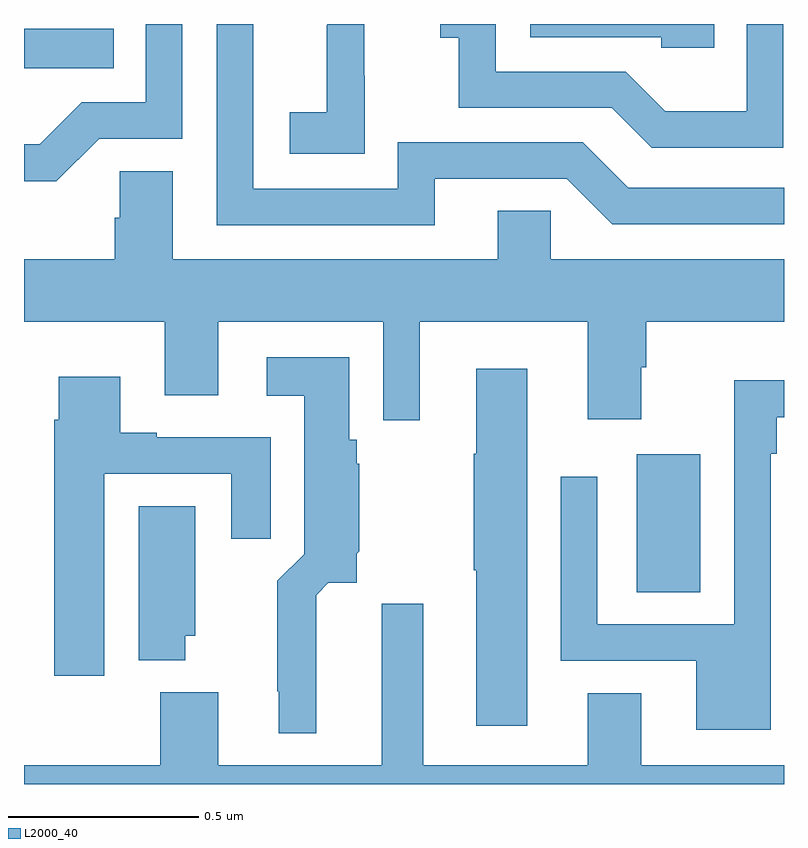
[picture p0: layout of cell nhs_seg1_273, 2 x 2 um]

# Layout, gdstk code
import gdstk
lib = gdstk.Library(unit=1e-6, precision=1e-09)
def R(c, l, rs):  # rectangles x0, y0, x1, y1
    for r in rs: c.add(gdstk.rectangle(r[:2], r[2:], *l))
def P(c, l, *ps):  # polygons
    for p in ps: c.add(gdstk.Polygon(p, *l))
L2000_40 = (2000, 40)

nhs_seg1_273 = lib.new_cell('nhs_seg1_273')
R(nhs_seg1_273, L2000_40, [(115.613,533.704,115.78,534.067), (114,535.082,114.236,535.186)])
P(nhs_seg1_273, L2000_40, [(115.817,535.199),(115.332,535.199),(115.332,535.164),(115.677,535.164),(115.677,535.137),(115.817,535.137)],
  [(115.081,534.792),(115.428,534.792),(115.548,534.672),(116,534.672),(116,534.768),(115.59,534.768),(115.47,534.888),(114.984,534.888),(114.984,534.765),(114.603,534.765),(114.603,535.199),(114.507,535.199),(114.507,534.669),(115.081,534.669)],
  [(115.998,535.199),(115.902,535.199),(115.902,534.97),(115.688,534.97),(115.584,535.074),(115.242,535.074),(115.242,535.199),(115.095,535.199),(115.095,535.163),(115.144,535.163),(115.144,534.978),(115.547,534.978),(115.652,534.873),(115.998,534.873)],
  [(114.198,534.897),(114.417,534.897),(114.417,535.199),(114.321,535.199),(114.321,534.993),(114.152,534.993),(114.041,534.882),(114,534.882),(114,534.785),(114.085,534.785)],
  [(114.897,535.063),(114.896,535.063),(114.896,535.199),(114.798,535.199),(114.798,535.196),(114.797,535.196),(114.797,534.967),(114.699,534.967),(114.699,534.857),(114.897,534.857)],
  [(115.042,534.416),(115.484,534.416),(115.484,534.159),(115.624,534.159),(115.624,534.296),(115.637,534.296),(115.637,534.416),(116,534.416),(116,534.58),(115.386,534.58),(115.386,534.707),(115.247,534.707),(115.247,534.58),(114.391,534.58),(114.391,534.812),(114.252,534.812),(114.252,534.689),(114.239,534.689),(114.239,534.58),(114,534.58),(114,534.416),(114.371,534.416),(114.371,534.222),(114.511,534.222),(114.511,534.416),(114.945,534.416),(114.945,534.156),(115.042,534.156)],
  [(114.769,533.696),(114.801,533.729),(114.876,533.729),(114.876,533.805),(114.882,533.811),(114.882,534.042),(114.876,534.042),(114.876,534.105),(114.856,534.105),(114.856,534.322),(114.639,534.322),(114.639,534.221),(114.737,534.221),(114.737,533.804),(114.667,533.734),(114.667,533.443),(114.671,533.443),(114.671,533.333),(114.769,533.333)],
  [(115.324,534.292),(115.19,534.292),(115.19,534.068),(115.183,534.068),(115.183,533.761),(115.19,533.761),(115.19,533.352),(115.324,533.352)],
  [(114.211,534.015),(114.545,534.015),(114.545,533.844),(114.649,533.844),(114.649,534.111),(114.349,534.111),(114.349,534.124),(114.253,534.124),(114.253,534.271),(114.092,534.271),(114.092,534.158),(114.08,534.158),(114.08,533.484),(114.211,533.484)],
  [(115.965,534.068),(115.981,534.068),(115.981,534.164),(116,534.164),(116,534.262),(115.869,534.262),(115.869,533.619),(115.509,533.619),(115.509,534.007),(115.413,534.007),(115.413,533.523),(115.769,533.523),(115.769,533.342),(115.965,533.342)],
  [(114.424,533.589),(114.451,533.589),(114.451,533.93),(114.302,533.93),(114.302,533.525),(114.424,533.525)],
  [(116,533.248),(115.624,533.248),(115.624,533.438),(115.484,533.438),(115.484,533.248),(115.051,533.248),(115.051,533.674),(114.941,533.674),(114.941,533.248),(114.511,533.248),(114.511,533.44),(114.359,533.44),(114.359,533.248),(114,533.248),(114,533.199),(116,533.199)])

lib.write_gds('nhs_seg1_273.gds')
